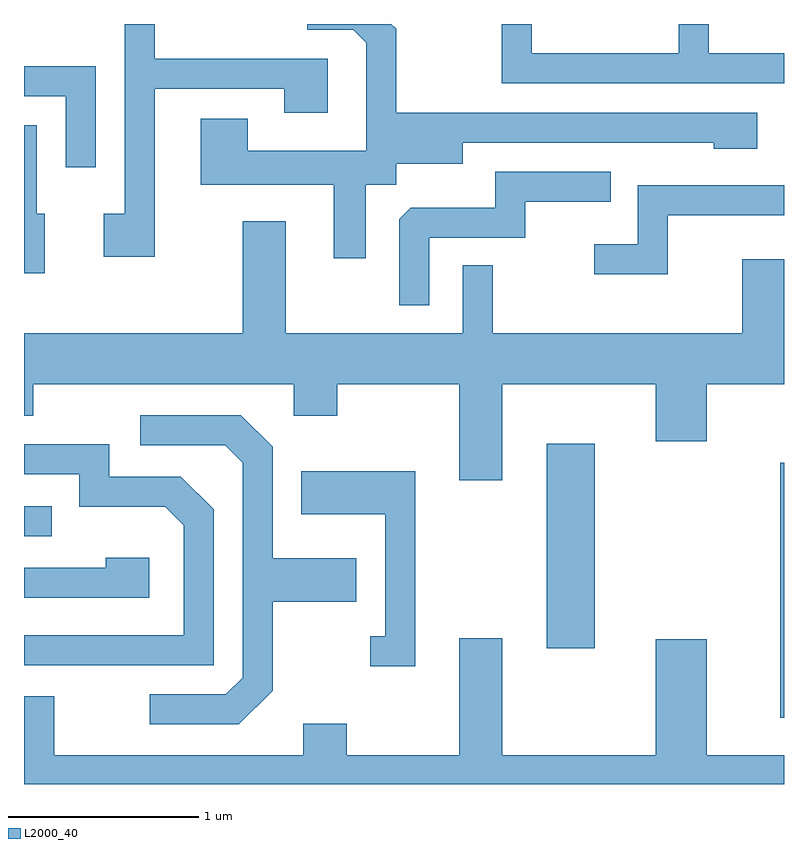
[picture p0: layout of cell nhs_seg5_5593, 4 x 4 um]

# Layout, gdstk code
import gdstk
lib = gdstk.Library(unit=1e-6, precision=1e-09)
def R(c, l, rs):  # rectangles x0, y0, x1, y1
    for r in rs: c.add(gdstk.rectangle(r[:2], r[2:], *l))
def P(c, l, *ps):  # polygons
    for p in ps: c.add(gdstk.Polygon(p, *l))
L2000_40 = (2000, 40)

nhs_seg5_5593 = lib.new_cell('nhs_seg5_5593')
R(nhs_seg5_5593, L2000_40, [(355.591,1408.421,355.611,1409.764), (354.361,1408.786,354.614,1409.864), (351.611,1409.376,351.758,1409.534)])
P(nhs_seg5_5593, L2000_40, [(355.611,1411.919),(355.214,1411.919),(355.214,1412.072),(355.056,1412.072),(355.056,1411.919),(354.284,1411.919),(354.284,1412.072),(354.126,1412.072),(354.126,1411.761),(355.611,1411.761)],
  [(352.299,1411.731),(352.981,1411.731),(352.981,1411.606),(353.209,1411.606),(353.209,1411.889),(352.299,1411.889),(352.299,1412.072),(352.141,1412.072),(352.141,1411.074),(352.031,1411.074),(352.031,1410.846),(352.299,1410.846)],
  [(353.409,1411.226),(353.569,1411.226),(353.569,1411.336),(353.919,1411.336),(353.919,1411.446),(355.241,1411.446),(355.241,1411.416),(355.469,1411.416),(355.469,1411.604),(353.569,1411.604),(353.569,1412.047),(353.544,1412.072),(353.103,1412.072),(353.103,1412.041),(353.344,1412.041),(353.411,1411.974),(353.411,1411.404),(352.789,1411.404),(352.789,1411.574),(352.541,1411.574),(352.541,1411.226),(353.241,1411.226),(353.241,1410.838),(353.409,1410.838)],
  [(351.989,1411.849),(351.611,1411.849),(351.611,1411.691),(351.831,1411.691),(351.831,1411.318),(351.989,1411.318)],
  [(351.719,1411.074),(351.679,1411.074),(351.679,1411.539),(351.611,1411.539),(351.611,1410.761),(351.719,1410.761)],
  [(353.744,1410.946),(354.249,1410.946),(354.249,1411.136),(354.698,1411.136),(354.698,1411.294),(354.091,1411.294),(354.091,1411.104),(353.647,1411.104),(353.586,1411.044),(353.586,1410.593),(353.744,1410.593)],
  [(354.999,1411.066),(355.611,1411.066),(355.611,1411.224),(354.841,1411.224),(354.841,1410.914),(354.613,1410.914),(354.613,1410.756),(354.999,1410.756)],
  [(354.129,1410.176),(354.936,1410.176),(354.936,1409.876),(355.204,1409.876),(355.204,1410.176),(355.611,1410.176),(355.611,1410.834),(355.391,1410.834),(355.391,1410.444),(354.079,1410.444),(354.079,1410.803),(353.921,1410.803),(353.921,1410.444),(352.989,1410.444),(352.989,1411.034),(352.761,1411.034),(352.761,1410.444),(351.611,1410.444),(351.611,1410.011),(351.659,1410.011),(351.659,1410.176),(353.031,1410.176),(353.031,1410.011),(353.259,1410.011),(353.259,1410.176),(353.901,1410.176),(353.901,1409.671),(354.129,1409.671)],
  [(352.919,1408.564),(352.919,1409.031),(353.359,1409.031),(353.359,1409.259),(352.919,1409.259),(352.919,1409.847),(352.752,1410.014),(352.223,1410.014),(352.223,1409.856),(352.669,1409.856),(352.761,1409.764),(352.761,1408.632),(352.674,1408.544),(352.273,1408.544),(352.273,1408.386),(352.742,1408.386)],
  [(352.609,1409.517),(352.437,1409.689),(352.059,1409.689),(352.059,1409.859),(351.611,1409.859),(351.611,1409.701),(351.901,1409.701),(351.901,1409.531),(352.354,1409.531),(352.451,1409.434),(352.451,1408.854),(351.611,1408.854),(351.611,1408.696),(352.609,1408.696)],
  [(353.669,1409.719),(353.071,1409.719),(353.071,1409.491),(353.511,1409.491),(353.511,1408.849),(353.433,1408.849),(353.433,1408.691),(353.669,1408.691)],
  [(352.269,1409.264),(352.041,1409.264),(352.041,1409.209),(351.611,1409.209),(351.611,1409.051),(352.269,1409.051)],
  [(355.611,1408.224),(355.204,1408.224),(355.204,1408.834),(354.936,1408.834),(354.936,1408.224),(354.129,1408.224),(354.129,1408.839),(353.901,1408.839),(353.901,1408.224),(353.309,1408.224),(353.309,1408.389),(353.081,1408.389),(353.081,1408.224),(351.769,1408.224),(351.769,1408.534),(351.611,1408.534),(351.611,1408.072),(355.611,1408.072)])

lib.write_gds('nhs_seg5_5593.gds')
